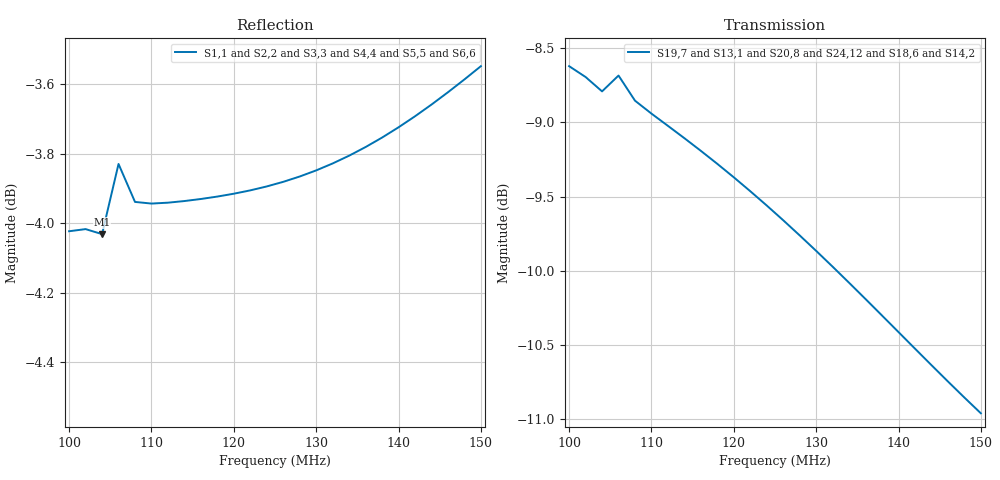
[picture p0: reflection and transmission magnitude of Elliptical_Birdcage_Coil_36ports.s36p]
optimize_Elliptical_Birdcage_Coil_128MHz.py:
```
# this Python script uses cosimulation to optimize capacitor values for an elliptical birdcage
# the requirements.txt file lists the packages needed to run it (or run "pip install -r requirements.txt")
# for more details see <https://github.com/dezanche/>
# Copyright ©2024 Nicola De Zanche

# This program is free software: you can redistribute it and/or modify it under the terms of the GNU General Public License as published by the Free Software Foundation, either version 3 of the License, or any later version.
# This program is distributed in the hope that it will be useful, but WITHOUT ANY WARRANTY; without even the implied warranty of MERCHANTABILITY or FITNESS FOR A PARTICULAR PURPOSE. See the GNU General Public License for more details.
# You should have received a copy of the GNU General Public License along with this program. If not, see <https://www.gnu.org/licenses/>.

import cosimpy
import skrf as rf
import matplotlib.pyplot as plt
from scipy.optimize import minimize
import numpy as np
import re
import pandas as pd
import pint
from pint import UnitRegistry

# some constants
mu_0 = 4*np.pi*1E-7
f0 = 128E6 #frequency at which fields are calculated
f0_target = 128E6 # target frequency for tuning
Z0 = 1000 # [ohm] impedance for renormalized S parameters

# boolean to enable optimization
perform_optimization = True#False#

# weighting of resonance frequency objective in optimization
# invert this number if switching from costfn defined based on+ Y to Z and vice versa
frequency_weighting = 100

# read in S parameters
S_full = cosimpy.S_Matrix.importTouchstone('Elliptical_Birdcage_Coil_36ports.s36p')
freqs = S_full.frequencies

# read in H field (converting to B)
EM_field = cosimpy.EM_Field.importFields_hfss('Coil_fields', freqs=[128e6], nPorts=36, b_multCoeff = mu_0, imp_efield=False)

# define coil with fields
rf_coil = cosimpy.RF_Coil(S_full, EM_field)

# hopefully robust way to get some information automatically about the grid points on which the fields are defined
first_file = open('Coil_fields/bfield_128000000.0_port1.fld', 'r')
first_line = first_file.readline()
brackets_text = re.findall(r'\[.*?\]', first_line)

ureg = UnitRegistry()
pattern = '{mm}mm'
grid_min = ureg.parse_pattern(brackets_text[0][1:-1], pattern, many=True)
grid_max = ureg.parse_pattern(brackets_text[1][1:-1], pattern, many=True)
grid_size = ureg.parse_pattern(brackets_text[2][1:-1], pattern, many=True)

x_points = np.arange(pint.Quantity.from_list(np.stack(grid_min[0])).magnitude,pint.Quantity.from_list(np.stack(grid_max[0])+np.stack(grid_size[0])).magnitude,pint.Quantity.from_list(np.stack(grid_size[0])).magnitude)
y_points = np.arange(pint.Quantity.from_list(np.stack(grid_min[1])).magnitude,pint.Quantity.from_list(np.stack(grid_max[1])+np.stack(grid_size[1])).magnitude,pint.Quantity.from_list(np.stack(grid_size[1])).magnitude)
field_grids = np.meshgrid(x_points,y_points)

# initialize vector with number of elements of grid in each dimension
no_points = pd.DataFrame([['nx', 1], ['ny', 1], ['nz', 1]])#, columns=['axis', 'points']
# exclude zeros in denominator to avoid 'ZeroDivisionError: float division by zero'
for n in range(3):
    if np.stack(grid_size[n]) != 0:
        no_points[1][n] = int((np.stack(grid_max[n])-np.stack(grid_min[n]))/np.stack(grid_size[n]))+1  #assumes division results in integer but doesn't check


# initial capacitor values for optimization
C_1 = 23E-12 # [F]
C_2 = 22E-12 # [F]
C_3 = 17E-12 # [F]
C_4 = 15E-12 # [F]
C_leg1 = 16E-12 # [F] effective (single) leg capacitance
C_leg2 = 14E-12 # [F]
C_leg3 = 11E-12 # [F]

# equivalent series resistance of capacitors
ESR = 0.1 # [ohm]

# S parameters of capacitors
S_cleg1 = cosimpy.S_Matrix.sMatrixRCseries(ESR, C_leg1, freqs)
S_cleg2 = cosimpy.S_Matrix.sMatrixRCseries(ESR, C_leg2, freqs)
S_cleg3 = cosimpy.S_Matrix.sMatrixRCseries(ESR, C_leg3, freqs)
S_c1 = cosimpy.S_Matrix.sMatrixRCseries(ESR, C_1, freqs)
S_c2 = cosimpy.S_Matrix.sMatrixRCseries(ESR, C_2, freqs)
S_c3 = cosimpy.S_Matrix.sMatrixRCseries(ESR, C_3, freqs)
S_c4 = cosimpy.S_Matrix.sMatrixRCseries(ESR, C_4, freqs)

# S parameters of a series short
#S_short = cosimpy.S_Matrix.sMatrixRLseries(0, 0, freqs)
S_short = cosimpy.S_Matrix.sMatrixShort(freqs)

# S parameters for ports across capacitors 1 and 4 (without matching components, gives singular matrix?)
S_P1 = cosimpy.S_Matrix.sMatrixPInetwork(S_c1, None, S_short)
S_P4 = cosimpy.S_Matrix.sMatrixPInetwork(S_c4, None, S_short)

# lists containing lumped port terminations (external circuits)
# ports across both C1 and C4
ext_circ_2port = [S_P1, S_c2, S_c3, S_P4, S_c3, S_c2, S_c1, S_c2, S_c3, S_c4, S_c3, S_c2, S_c1, S_c2, S_c3, S_c4, S_c3, S_c2, S_c1, S_c2, S_c3, S_c4, S_c3, S_c2, S_cleg1, S_cleg2, S_cleg3, S_cleg3, S_cleg2, S_cleg1, S_cleg1, S_cleg2, S_cleg3, S_cleg3, S_cleg2, S_cleg1]
# 1 port across C1
ext_circ_C1 = [S_P1, S_c2, S_c3, S_c4, S_c3, S_c2, S_c1, S_c2, S_c3, S_c4, S_c3, S_c2, S_c1, S_c2, S_c3, S_c4, S_c3, S_c2, S_c1, S_c2, S_c3, S_c4, S_c3, S_c2, S_cleg1, S_cleg2, S_cleg3, S_cleg3, S_cleg2, S_cleg1, S_cleg1, S_cleg2, S_cleg3, S_cleg3, S_cleg2, S_cleg1]
# 1 port across C4
ext_circ_C4 = [S_c1, S_c2, S_c3, S_P4, S_c3, S_c2, S_c1, S_c2, S_c3, S_c4, S_c3, S_c2, S_c1, S_c2, S_c3, S_c4, S_c3, S_c2, S_c1, S_c2, S_c3, S_c4, S_c3, S_c2, S_cleg1, S_cleg2, S_cleg3, S_cleg3, S_cleg2, S_cleg1, S_cleg1, S_cleg2, S_cleg3, S_cleg3, S_cleg2, S_cleg1]

## RF coil with ports connected to terminations
rf_coil_conn = rf_coil.singlePortConnRFcoil(ext_circ_2port, comp_Pinc = True)
Y_matrix = rf.s2y(rf_coil_conn.s_matrix.S)
B_field_conn = rf_coil_conn.em_field.b_field

# B field with quadrature excitation of ports (equal magnitude)
quad_field = B_field_conn[0][0] + 1j * B_field_conn[0][1]

# from Hoult CMR12(4)-173
B1_plus = np.reshape(np.absolute((quad_field[0] + 1j * quad_field[1])/2),[no_points[1][1].astype(int), no_points[1][0].astype(int)])  # Eq. 14 (magnitude only)
#B1_minus = np.absolute((quad_field[0] - 1j * quad_field[1])/2)  # Eq. 15 (magnitude only)

## calculate cost function
# elliptical inscribed region
mask = (field_grids[0] / pint.Quantity.from_list(np.stack(grid_max[0])).magnitude) ** 2 + (field_grids[1] / pint.Quantity.from_list(np.stack(grid_max[1])).magnitude) ** 2 <= 1
initial_SD = np.std(B1_plus[np.where(mask)])
#initial_cost = initial_SD + np.sqrt(np.imag(Z_matrix[np.where(freqs == f0)][0, 0, 0]) ** 2 + np.imag(Z_matrix[np.where(freqs == f0)][0, 1, 1]) ** 2) * initial_SD * frequency_weighting
initial_cost = initial_SD + np.sqrt(np.imag(Y_matrix[np.where(freqs == f0_target)][0, 0, 0]) ** 2 + np.imag(Y_matrix[np.where(freqs == f0_target)][0, 1, 1]) ** 2) * initial_SD * frequency_weighting
#np.mean(B1_plus)
#np.std(B1_minus)
#np.mean(B1_minus)

## plots before optimization

EM_field.plotEMField('b_field', 'mag' ,f0 , np.arange(36)+1,'xy',0)

plt.figure()
#rf_coil_conn.em_field.plotEMField("b_field", comp="b1+", freq=f0, ports=[1,2], plane='xy', sliceIdx=0)
plt.imshow(B1_plus*mask, origin = 'lower',  extent = [x_points[0],x_points[-1],y_points[0],y_points[-1]])
#plt.clim(0, B1_plus.max())
plt.title('B1+ before optimization')
plt.xlabel('cost function ' + initial_cost.astype(str))
plt.colorbar()

plt.figure()
plt.imshow(mask, origin = 'lower',  extent = [x_points[0],x_points[-1],y_points[0],y_points[-1]])
plt.title('field optimization mask')
plt.colorbar()

# display 36x36 S matrix at 128MHz
plt.figure()
plt.imshow(np.abs(S_full.S[np.where(freqs == f0)])[0,:,:])
plt.title('full |S| matrix at ' + str(f0) + 'Hz')
plt.colorbar()

plt.show()



### cost function
def costfn(capacitances):
    print('.', end='',flush=True) # print one dot at each iteration to show progress
    S_c1 = cosimpy.S_Matrix.sMatrixRCseries(ESR, capacitances[0], freqs)
    S_c2 = cosimpy.S_Matrix.sMatrixRCseries(ESR, capacitances[1], freqs)
    S_c3 = cosimpy.S_Matrix.sMatrixRCseries(ESR, capacitances[2], freqs)
    S_c4 = cosimpy.S_Matrix.sMatrixRCseries(ESR, capacitances[3], freqs)
    S_cleg1 = cosimpy.S_Matrix.sMatrixRCseries(ESR, capacitances[4], freqs)
    S_cleg2 = cosimpy.S_Matrix.sMatrixRCseries(ESR, capacitances[5], freqs)
    # S_cleg3 is kept constant otherwise solution is not unique
    S_cleg3 = cosimpy.S_Matrix.sMatrixRCseries(ESR, capacitances[6], freqs)
    S_P1 = cosimpy.S_Matrix.sMatrixPInetwork(S_c1, None, S_short)
    S_P4 = cosimpy.S_Matrix.sMatrixPInetwork(S_c4, None, S_short)
    ext_circ = [S_P1, S_c2, S_c3, S_P4, S_c3, S_c2, S_c1, S_c2, S_c3, S_c4, S_c3, S_c2, S_c1, S_c2, S_c3, S_c4, S_c3, S_c2, S_c1, S_c2, S_c3, S_c4, S_c3, S_c2, S_cleg1, S_cleg2, S_cleg3, S_cleg3, S_cleg2, S_cleg1, S_cleg1, S_cleg2, S_cleg3, S_cleg3, S_cleg2, S_cleg1]
    rf_coil_conn = rf_coil.singlePortConnRFcoil(ext_circ, comp_Pinc = True)
    B_field_conn = rf_coil_conn.em_field.b_field
    quad_field = B_field_conn[0][0] + 1j * B_field_conn[0][1]
    B1_plus = np.reshape(np.absolute((quad_field[0] + 1j * quad_field[1])/2),[no_points[1][1].astype(int), no_points[1][0].astype(int)])  # Eq. 14 (magnitude only)
    # minimize SD of B1+ and make |Im{Z11}| + |Im{Z22}| small at 128MHz to obtain 2 degenerate modes (resonance frequency objective)
    # Z_matrix = rf.s2z(rf_coil_conn.s_matrix.S)
    # cost = np.std(B1_plus[np.where(mask)]) + np.sqrt(np.imag(Z_matrix[np.where(freqs == f0)][0, 0, 0]) ** 2 + np.imag(Z_matrix[np.where(freqs == f0)][0, 1, 1]) ** 2) * initial_SD * frequency_weighting
    # alternative with |Im{Y11}| + |Im{Y22}| small
    Y_matrix = rf.s2y(rf_coil_conn.s_matrix.S)
    cost = np.std(B1_plus[np.where(mask)]) + np.sqrt(np.imag(Y_matrix[np.where(freqs == f0_target)][0, 0, 0]) ** 2 + np.imag(Y_matrix[np.where(freqs == f0_target)][0, 1, 1]) ** 2) * initial_SD * frequency_weighting
    return cost
    


### run optimization
#costfn([C_1, C_2, C_3, C_4, C_leg1, C_leg2])
if perform_optimization:
    print('optimizing capacitances ...')
    result = minimize(costfn, [C_1, C_2, C_3, C_4, C_leg1, C_leg2, C_leg3], method='nelder-mead', options={'fatol': initial_cost/100, 'disp': True})
    optimized_capacitances = result['x']
    final_cost = result['fun']
else:
    print('skipping optimization ...')
    optimized_capacitances = [C_1, C_2, C_3, C_4, C_leg1, C_leg2, C_leg3]
    final_cost = initial_cost

# update model with optimized values
S_c1 = cosimpy.S_Matrix.sMatrixRCseries(ESR, optimized_capacitances[0], freqs)
S_c2 = cosimpy.S_Matrix.sMatrixRCseries(ESR, optimized_capacitances[1], freqs)
S_c3 = cosimpy.S_Matrix.sMatrixRCseries(ESR, optimized_capacitances[2], freqs)
S_c4 = cosimpy.S_Matrix.sMatrixRCseries(ESR, optimized_capacitances[3], freqs)
S_cleg1 = cosimpy.S_Matrix.sMatrixRCseries(ESR, optimized_capacitances[4], freqs)
S_cleg2 = cosimpy.S_Matrix.sMatrixRCseries(ESR, optimized_capacitances[5], freqs)
S_cleg3 = cosimpy.S_Matrix.sMatrixRCseries(ESR, optimized_capacitances[6], freqs)
S_P1 = cosimpy.S_Matrix.sMatrixPInetwork(S_c1, None, S_short)
S_P4 = cosimpy.S_Matrix.sMatrixPInetwork(S_c4, None, S_short)

# lists containing lumped port terminations (external circuits)
# ports across both C1 and C4
ext_circ_2port = [S_P1, S_c2, S_c3, S_P4, S_c3, S_c2, S_c1, S_c2, S_c3, S_c4, S_c3, S_c2, S_c1, S_c2, S_c3, S_c4, S_c3, S_c2, S_c1, S_c2, S_c3, S_c4, S_c3, S_c2, S_cleg1, S_cleg2, S_cleg3, S_cleg3, S_cleg2, S_cleg1, S_cleg1, S_cleg2, S_cleg3, S_cleg3, S_cleg2, S_cleg1]
# 1 port across C1
ext_circ_C1 = [S_P1, S_c2, S_c3, S_c4, S_c3, S_c2, S_c1, S_c2, S_c3, S_c4, S_c3, S_c2, S_c1, S_c2, S_c3, S_c4, S_c3, S_c2, S_c1, S_c2, S_c3, S_c4, S_c3, S_c2, S_cleg1, S_cleg2, S_cleg3, S_cleg3, S_cleg2, S_cleg1, S_cleg1, S_cleg2, S_cleg3, S_cleg3, S_cleg2, S_cleg1]
# 1 port across C4
ext_circ_C4 = [S_c1, S_c2, S_c3, S_P4, S_c3, S_c2, S_c1, S_c2, S_c3, S_c4, S_c3, S_c2, S_c1, S_c2, S_c3, S_c4, S_c3, S_c2, S_c1, S_c2, S_c3, S_c4, S_c3, S_c2, S_cleg1, S_cleg2, S_cleg3, S_cleg3, S_cleg2, S_cleg1, S_cleg1, S_cleg2, S_cleg3, S_cleg3, S_cleg2, S_cleg1]

## calculate currents at all coil ports
rf_coil_portC1 = rf_coil.singlePortConnRFcoil(ext_circ_C1, comp_Pinc = True)
rf_coil_portC4 = rf_coil.singlePortConnRFcoil(ext_circ_C4, comp_Pinc = True)
VI_portC1 = rf_coil_portC1.s_matrix.compVI()
VI_portC4 = rf_coil_portC4.s_matrix.compVI()

## calculate quadrature field
rf_coil_conn = rf_coil.singlePortConnRFcoil(ext_circ_2port, comp_Pinc = True)

B_field_conn = rf_coil_conn.em_field.b_field

# equal excitation into both ports
quad_field = B_field_conn[0][0] + 1j * B_field_conn[0][1]

B1_plus = np.reshape(np.absolute((quad_field[0] + 1j * quad_field[1])/2),[no_points[1][1].astype(int), no_points[1][0].astype(int)])


### PLOT RESULTS

fig = rf_coil_conn.s_matrix.plotS(["S1-1", "S2-2", "S1-2"], smooth = False)

# create scikit-rf network object
ntwk = rf.Network(frequency=freqs, s=rf_coil_conn.s_matrix.S , name='connected coil')
ntwk.frequency.unit = 'mhz'
ntwk.renormalize(Z0)

# plot additional figures for comparison
plt.figure()
plt1 = ntwk.plot_s_db()
plt.ylabel('Magnitude (dB)')
plt.title('renormalized S parameters')

#plt.figure()
#plt2 = ntwk.plot_s_smith()

plt.figure()
ntwk.plot_z_re()
plt.axis((freqs[0], freqs[-1], -50, 1000))
plt.ylabel('Real impedance R (ohm)')

plt.figure()
ntwk.plot_z_im()
plt.axis((freqs[0], freqs[-1], -300, 300))
plt.ylabel('Imaginary impedance X (ohm)')

plt.figure()
ntwk.plot_y_re()
plt.axis((freqs[0], freqs[-1], -0.03, 0.15))
plt.ylabel('Real admittance G (ohm)')

plt.figure()
ntwk.plot_y_im()
plt.axis((freqs[0], freqs[-1], -0.1, 0.1))
plt.ylabel('Imaginary admittance B (ohm)')

plt.figure()
plt.imshow(B1_plus*mask, origin = 'lower', extent = [x_points[0],x_points[-1],y_points[0],y_points[-1]])
#plt.gca().set_xticks(x_points)
#plt.gca().set_yticks(y_points)
plt.title('B1+ after optimization')
plt.xlabel('cost function = ' + final_cost.astype(str))
plt.colorbar()

plt.figure()
#plt.plot(freqs,np.squeeze(VI_portC1[0])) # voltage at driven port as a function of frequency
#plt.plot(np.linspace(1,36,36),np.transpose(np.squeeze(VI_portC1[3]))) # overlapping currents at all ports
ax = plt.axes(projection='3d')
X, Y = np.meshgrid(np.linspace(1,12,12),freqs/1E6)
#ax.plot_wireframe(X, Y, np.squeeze(np.abs(VI_portC1[3]))[:,0:12],rstride=1, cstride=0)
# NB phase factor to make ~ real at 128MHz
ax.plot_wireframe(X, Y, np.squeeze(VI_portC1[3]*np.exp(1j*0.2))[:,0:12],rstride=1, cstride=0)
plt.title('currents on driven end ring capacitors: port C1')

plt.figure()
#plt.plot(freqs,np.squeeze(VI_portC1[0])) # voltage at driven port as a function of frequency
#plt.plot(np.linspace(1,36,36),np.transpose(np.squeeze(VI_portC1[3]))) # overlapping currents at all ports
ax = plt.axes(projection='3d')
X, Y = np.meshgrid(np.linspace(1,12,12),freqs/1E6)
#ax.plot_wireframe(X, Y, np.squeeze(np.abs(VI_portC1[3]))[:,0:12],rstride=1, cstride=0)
# NB phase factor to make ~ real at 128MHz
ax.plot_wireframe(X, Y, np.squeeze(VI_portC4[3]*np.exp(1j*0.95))[:,0:12],rstride=1, cstride=0)
plt.title('currents on driven end ring capacitors: port C4')

plt.figure()
#plt.plot(np.real(VI_portC4[3])[1,0:12],np.imag(VI_portC4[3])[1,0:12])
plt.plot(np.linspace(1,12,12), np.squeeze(np.squeeze(VI_portC4[3]*np.exp(1j*0.95))[np.where(freqs == f0_target),0:12]))
plt.plot(np.linspace(1,12,12), np.squeeze(np.squeeze(VI_portC1[3]*np.exp(1j*0.2))[np.where(freqs == f0_target),0:12]))
plt.title('currents on end ring capacitors at 128 MHz (driven end ring)')

plt.show()
```
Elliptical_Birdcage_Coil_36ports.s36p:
! Touchstone file exported from HFSS 2022.1.0
!  File:  E:/Users/dezanche/Documents/Ansoft/Elliptical_Birdcage_Coil_36ports.aedt
!  Generated:  5:24:38 PM  Jan 17, 2024
!  Design:  HFSSDesign1
!  Project:  Elliptical_Birdcage_Coil_36ports
!  Setup:  Setup4
!  Solution:  Sweep
! Variables:
!  D1 = 332.78mm
!  D2 = 517.78mm
!  SH1 = 582.26mm
!  SH2 = 397.26mm
!  SH_height = 460mm
!  Zin = 0.1ohm
!  Zport = 2ohm
!  a = 258.89mm
!  alpha1 = 0.04884rad
!  alpha2 = 0.05925rad
!  alpha3 = 0.07394rad
!  b = 166.39mm
!  bore_height = 1000mm
!  bore_radius = 300mm
!  cap1 = 23.9pF
!  cap2 = 21.6pF
!  cap3 = 18pF
!  cap4 = 17.1pF
!  cap_leg1 = 40pF
!  cap_leg2 = 40pF
!  cap_leg3 = 40pF
!  cap_size = 2mm
!  coil_height = 400mm
!  er_width = 0.5in
!  leg_thickness = 0.3mm
!  num_legs = 12
!  separation_angle = 0.523598775598299
! Terminal data exported
! Port[1] = 1
! Port[2] = 2
! Port[3] = 3
! Port[4] = 4
! Port[5] = 5
! Port[6] = 6
! Port[7] = 7
! Port[8] = 8
! Port[9] = 9
! Port[10] = 10
! Port[11] = 11
! Port[12] = 12
! Port[13] = 13
! Port[14] = 14
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# GHz S MA R 50.000000
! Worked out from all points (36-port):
!   26 points, 100 MHz to 150 MHz, reference 50 ohm
!   strongest paths, dB at 100 MHz, 112 MHz, 126 MHz, 138 MHz, 150 MHz:
!     S19,7: -8.6, -9.0, -9.7, -10.3, -11.0
!     S13,1: -8.6, -9.0, -9.7, -10.3, -11.0
!     S20,8: -8.7, -9.2, -9.8, -10.5, -11.3
!     S24,12: -8.7, -9.2, -9.8, -10.5, -11.3
!     S18,6: -8.7, -9.2, -9.8, -10.5, -11.3
!     S14,2: -8.7, -9.2, -9.8, -10.5, -11.3
!   lowest |S11| = -4.0 dB at 104 MHz (marker M1), VSWR 4.39, Z = 185 + j77.3 ohm
!   |S11| at or under -10 dB: nowhere
